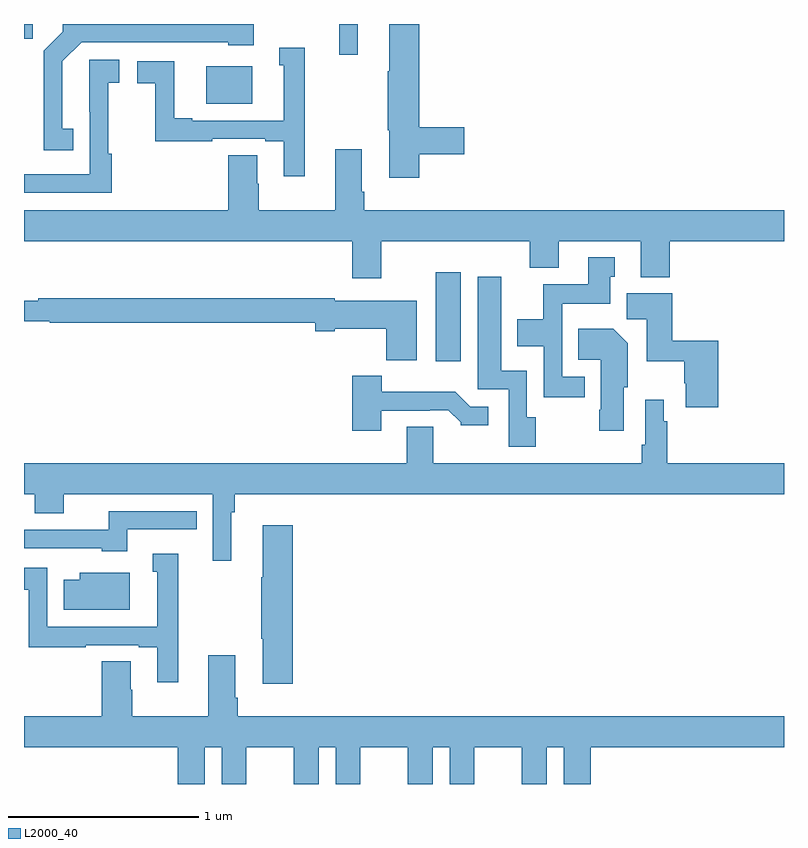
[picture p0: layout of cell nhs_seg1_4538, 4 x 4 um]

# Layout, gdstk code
import gdstk
lib = gdstk.Library(unit=1e-6, precision=1e-09)
def R(c, l, rs):  # rectangles x0, y0, x1, y1
    for r in rs: c.add(gdstk.rectangle(r[:2], r[2:], *l))
def P(c, l, *ps):  # polygons
    for p in ps: c.add(gdstk.Polygon(p, *l))
L2000_40 = (2000, 40)

nhs_seg1_4538 = lib.new_cell('nhs_seg1_4538')
R(nhs_seg1_4538, L2000_40, [(359.168,560.424,359.299,560.893), (357.959,561.779,358.201,561.976), (358.659,562.038,358.756,562.199), (357,562.121,357.047,562.199)])
P(nhs_seg1_4538, L2000_40, [(359.081,561.514),(359.317,561.514),(359.317,561.656),(359.081,561.656),(359.081,562.199),(358.922,562.199),(358.922,561.95),(358.915,561.95),(358.915,561.639),(358.922,561.639),(358.922,561.39),(359.081,561.39)],
  [(357.26,561.647),(357.202,561.647),(357.202,562.003),(357.303,562.104),(358.074,562.104),(358.074,562.088),(358.21,562.088),(358.21,562.199),(357.204,562.199),(357.204,562.157),(357.105,562.058),(357.105,561.534),(357.26,561.534)],
  [(358.477,562.075),(358.343,562.075),(358.343,561.981),(358.367,561.981),(358.367,561.69),(357.886,561.69),(357.886,561.703),(357.79,561.703),(357.79,562.002),(357.597,562.002),(357.597,561.886),(357.691,561.886),(357.691,561.582),(357.992,561.582),(357.992,561.594),(358.271,561.594),(358.271,561.582),(358.367,561.582),(358.367,561.399),(358.477,561.399)],
  [(357.461,561.515),(357.444,561.515),(357.444,561.891),(357.502,561.891),(357.502,562.012),(357.344,562.012),(357.344,561.736),(357.345,561.736),(357.345,561.408),(357,561.408),(357,561.312),(357.461,561.312)],
  [(358.879,561.056),(359.663,561.056),(359.663,560.915),(359.815,560.915),(359.815,561.056),(360.245,561.056),(360.245,560.867),(360.398,560.867),(360.398,561.056),(361,561.056),(361,561.22),(358.79,561.22),(358.79,561.316),(358.777,561.316),(358.777,561.541),(358.637,561.541),(358.637,561.22),(358.236,561.22),(358.236,561.359),(358.228,561.359),(358.228,561.509),(358.076,561.509),(358.076,561.22),(357,561.22),(357,561.056),(358.727,561.056),(358.727,560.862),(358.879,560.862)],
  [(359.95,560.343),(359.832,560.343),(359.832,560.726),(360.085,560.726),(360.085,560.868),(360.109,560.868),(360.109,560.971),(359.969,560.971),(359.969,560.83),(359.734,560.83),(359.734,560.644),(359.597,560.644),(359.597,560.504),(359.736,560.504),(359.736,560.235),(359.95,560.235)],
  [(359.694,560.13),(359.646,560.13),(359.646,560.374),(359.512,560.374),(359.512,560.869),(359.387,560.869),(359.387,560.277),(359.55,560.277),(359.55,559.974),(359.694,559.974)],
  [(360.653,560.533),(360.413,560.533),(360.413,560.782),(360.173,560.782),(360.173,560.644),(360.278,560.644),(360.278,560.423),(360.475,560.423),(360.475,560.308),(360.482,560.308),(360.482,560.181),(360.653,560.181)],
  [(359.068,560.743),(358.636,560.743),(358.636,560.755),(357.076,560.755),(357.076,560.742),(357,560.742),(357,560.634),(357.136,560.634),(357.136,560.626),(358.532,560.626),(358.532,560.582),(358.636,560.582),(358.636,560.594),(358.906,560.594),(358.906,560.429),(359.068,560.429)],
  [(360.157,560.286),(360.178,560.286),(360.178,560.518),(360.1,560.596),(359.917,560.596),(359.917,560.432),(360.035,560.432),(360.035,560.17),(360.028,560.17),(360.028,560.058),(360.157,560.058)],
  [(358.879,560.163),(359.135,560.163),(359.135,560.166),(359.234,560.166),(359.298,560.102),(359.298,560.087),(359.443,560.087),(359.443,560.184),(359.349,560.184),(359.271,560.263),(358.882,560.263),(358.882,560.347),(358.727,560.347),(358.727,560.058),(358.879,560.058)],
  [(358.09,559.628),(358.109,559.628),(358.109,559.724),(361,559.724),(361,559.888),(360.386,559.888),(360.386,560.108),(360.366,560.108),(360.366,560.221),(360.27,560.221),(360.27,559.984),(360.25,559.984),(360.25,559.888),(359.155,559.888),(359.155,560.078),(359.015,560.078),(359.015,559.888),(357,559.888),(357,559.724),(357.056,559.724),(357.056,559.625),(357.208,559.625),(357.208,559.724),(357.993,559.724),(357.993,559.374),(358.09,559.374)],
  [(357.544,559.539),(357.908,559.539),(357.908,559.635),(357.445,559.635),(357.445,559.536),(357,559.536),(357,559.44),(357.408,559.44),(357.408,559.424),(357.544,559.424)],
  [(358.415,559.561),(358.256,559.561),(358.256,559.286),(358.249,559.286),(358.249,558.964),(358.256,558.964),(358.256,558.726),(358.415,558.726)],
  [(357.811,559.411),(357.677,559.411),(357.677,559.317),(357.701,559.317),(357.701,559.026),(357.123,559.026),(357.123,559.338),(357,559.338),(357,559.222),(357.025,559.222),(357.025,558.918),(357.326,558.918),(357.326,558.93),(357.605,558.93),(357.605,558.918),(357.701,558.918),(357.701,558.735),(357.811,558.735)],
  [(357.556,559.312),(357.293,559.312),(357.293,559.273),(357.208,559.273),(357.208,559.115),(357.556,559.115)],
  [(357.952,558.392),(358.04,558.392),(358.04,558.199),(358.171,558.199),(358.171,558.392),(358.421,558.392),(358.421,558.199),(358.552,558.199),(358.552,558.392),(358.64,558.392),(358.64,558.199),(358.771,558.199),(358.771,558.392),(359.021,558.392),(359.021,558.199),(359.152,558.199),(359.152,558.392),(359.24,558.392),(359.24,558.199),(359.371,558.199),(359.371,558.392),(359.621,558.392),(359.621,558.199),(359.752,558.199),(359.752,558.392),(359.84,558.392),(359.84,558.199),(359.984,558.199),(359.984,558.392),(361,558.392),(361,558.556),(358.124,558.556),(358.124,558.652),(358.111,558.652),(358.111,558.877),(357.971,558.877),(357.971,558.556),(357.57,558.556),(357.57,558.695),(357.562,558.695),(357.562,558.845),(357.41,558.845),(357.41,558.556),(357,558.556),(357,558.392),(357.809,558.392),(357.809,558.199),(357.952,558.199)])

lib.write_gds('nhs_seg1_4538.gds')
